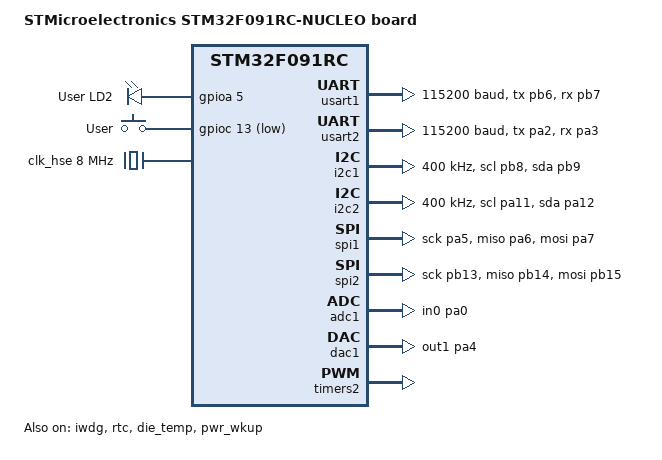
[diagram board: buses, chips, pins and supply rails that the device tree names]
/*
 * Copyright (c) 2017 Bobby Noelte
 *
 * SPDX-License-Identifier: Apache-2.0
 */

/dts-v1/;
#include <st/f0/stm32f091Xc.dtsi>
#include <st/f0/stm32f091r(b-c)tx-pinctrl.dtsi>
#include "arduino_r3_connector.dtsi"

/ {
	model = "STMicroelectronics STM32F091RC-NUCLEO board";
	compatible = "st,stm32f091rc-nucleo";

	chosen {
		zephyr,console = &usart2;
		zephyr,shell-uart = &usart2;
		zephyr,sram = &sram0;
		zephyr,flash = &flash0;
	};

	leds {
		compatible = "gpio-leds";
		green_led_2: led_2 {
			gpios = <&gpioa 5 GPIO_ACTIVE_HIGH>;
			label = "User LD2";
		};
	};

	gpio_keys {
		compatible = "gpio-keys";
		user_button: button {
			label = "User";
			gpios = <&gpioc 13 GPIO_ACTIVE_LOW>;
		};
	};

	pwmleds: pwmleds {
		compatible = "pwm-leds";
		/* NOTE: disabled by default, PWM2 conflicts with SPI1 */
		status = "disabled";

		green_pwm_led: green_pwm_led {
			pwms = <&pwm2 1 PWM_MSEC(20) PWM_POLARITY_NORMAL>;
		};
	};

	aliases {
		led0 = &green_led_2;
		sw0 = &user_button;
		pwm-led0 = &green_pwm_led;
		watchdog0 = &iwdg;
		die-temp0 = &die_temp;
	};
};

&clk_hse {
	hse-bypass;
	clock-frequency = <DT_FREQ_M(8)>; /* STLink 8MHz clock */
	status = "okay";
};

&clk_lsi {
	status = "okay";
};

&pll {
	prediv = <1>;
	mul = <6>;
	clocks = <&clk_hse>;
	status = "okay";
};

&rcc {
	clocks = <&pll>;
	clock-frequency = <DT_FREQ_M(48)>;
	ahb-prescaler = <1>;
	apb1-prescaler = <1>;
};

&usart1 {
	pinctrl-0 = <&usart1_tx_pb6 &usart1_rx_pb7>;
	pinctrl-names = "default";
	current-speed = <115200>;
};

&usart2 {
	pinctrl-0 = <&usart2_tx_pa2 &usart2_rx_pa3>;
	pinctrl-names = "default";
	current-speed = <115200>;
	status = "okay";
};

&i2c1 {
	pinctrl-0 = <&i2c1_scl_pb8 &i2c1_sda_pb9>;
	pinctrl-names = "default";
	status = "okay";
	clock-frequency = <I2C_BITRATE_FAST>;
};

&i2c2 {
	pinctrl-0 = <&i2c2_scl_pa11 &i2c2_sda_pa12>;
	pinctrl-names = "default";
	status = "okay";
	clock-frequency = <I2C_BITRATE_FAST>;
};

&spi1 {
	pinctrl-0 = <&spi1_sck_pa5 &spi1_miso_pa6 &spi1_mosi_pa7>;
	pinctrl-names = "default";
	status = "okay";
};

&spi2 {
	pinctrl-0 = <&spi2_sck_pb13 &spi2_miso_pb14 &spi2_mosi_pb15>;
	pinctrl-names = "default";
	status = "okay";
};

&iwdg {
	status = "okay";
};

&rtc {
	clocks = <&rcc STM32_CLOCK_BUS_APB1 0x10000000>,
		 <&rcc STM32_SRC_LSI RTC_SEL(2)>;
	status = "okay";
};

&flash0 {

	partitions {
		compatible = "fixed-partitions";
		#address-cells = <1>;
		#size-cells = <1>;

		/* Set 6Kb of storage at the end of the 256Kb of flash */
		storage_partition: partition@3e800 {
			label = "storage";
			reg = <0x0003e800 DT_SIZE_K(6)>;
		};
	};
};

&adc1 {
	pinctrl-0 = <&adc_in0_pa0>;
	pinctrl-names = "default";
	status = "okay";
};

&die_temp {
	status = "okay";
};

&dac1 {
	status = "okay";
	pinctrl-0 = <&dac_out1_pa4>;
	pinctrl-names = "default";
};

&dma1 {
	status = "okay";
};

&timers2 {
	st,prescaler = <10000>;
	status = "okay";

	pwm2: pwm {
		/* NOTE: disabled by default, PWM2 conflicts with SPI1 */
		pinctrl-0 = <&tim2_ch1_pa5>;
		pinctrl-names = "default";
	};
};

&pwr_wkup {
	status = "okay";
	wkpins = <&wakeup1_pa0>;
};
